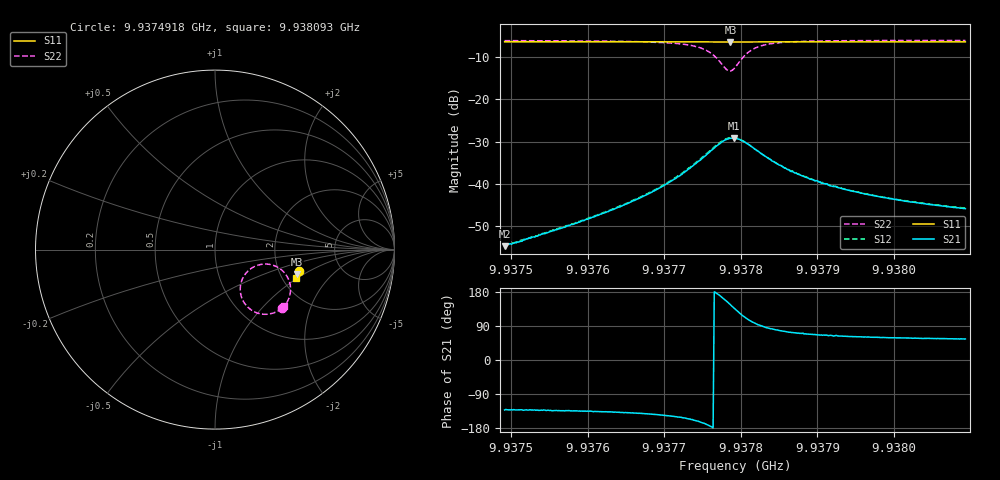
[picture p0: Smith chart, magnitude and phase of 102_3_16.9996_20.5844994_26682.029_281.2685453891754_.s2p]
#  HZ  S  RI  R  50.00
! Rohde & Schwarz Vector Network Analyzer
! Rohde-Schwarz,ZNB20-2Port,1311601062101988,3.16
! Created: UTC 3/20/2024, 10:56:41 PM
! freq[Hz]  re:S11  im:S11  re:S21  im:S21  re:S12  im:S12  re:S22  im:S22
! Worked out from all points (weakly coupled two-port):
!   401 points, 9.9374918 GHz to 9.938093 GHz, reference 50 ohm
!   highest |S21| = -29.15 dB at 9.9377909 GHz (marker M1); lowest = -54.7 dB at 9.9374918 GHz (marker M2)
!   lowest |S11| = -6.4 dB at 9.9377864 GHz (marker M3), VSWR 2.83, Z = 123 - j43.5 ohm
!   |S11| at or under -10 dB: nowhere
!   |S22| runs from -13.3 to -6.0 dB; largest |S21 - S12| = 0.0018
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9.93749181e9  0.4677 -0.1186  -0.00123 -0.00137  -0.00125 -0.00139  0.3746 -0.3251
9.93753239e9  0.4668 -0.1216  -0.00163 -0.00177  -0.00166 -0.00177  0.3688 -0.3299
9.93759252e9  0.4654 -0.1257  -0.00257 -0.0026  -0.00266 -0.00259  0.3574 -0.3377
9.93765114e9  0.4639 -0.1295  -0.00439 -0.00382  -0.00456 -0.00382  0.3382 -0.3485
9.93769322e9  0.4626 -0.1326  -0.00726 -0.00516  -0.00753 -0.00518  0.3113 -0.3574
9.93772178e9  0.4616 -0.1347  -0.0112 -0.00621  -0.0117 -0.00599  0.2758 -0.3606
9.93775034e9  0.4598 -0.1368  -0.0197 -0.00483  -0.0204 -0.00463  0.2073 -0.3399
9.93776236e9  0.4588 -0.1372  -0.0252 -0.00127  -0.0259 -0.00077  0.1672 -0.3025
9.93777289e9  0.458 -0.1371  -0.0296 0.00543  -0.0304 0.00677  0.1418 -0.2391
9.9377804e9  0.4574 -0.1367  -0.0307 0.0129  -0.0308 0.0146  0.1473 -0.1772
9.93778641e9  0.4573 -0.1362  -0.0288 0.0193  -0.0285 0.0211  0.1744 -0.1292
9.93779092e9  0.4575 -0.1362  -0.0257 0.0236  -0.0249 0.0251  0.2061 -0.1018
9.93779242e9  0.4577 -0.1361  -0.0243 0.0246  -0.0236 0.0261  0.2183 -0.0951
9.93779994e9  0.4582 -0.1359  -0.017 0.0283  -0.0159 0.0293  0.281 -0.0805
9.93780746e9  0.4589 -0.1364  -0.0102 0.0285  -0.0092 0.029  0.3345 -0.0912
9.93782399e9  0.4596 -0.1377  -0.00089 0.0239  -4.83e-05 0.0239  0.398 -0.144
9.93784052e9  0.4598 -0.1391  0.00252 0.0186  0.00308 0.0187  0.4173 -0.1896
9.93786307e9  0.4595 -0.1413  0.00422 0.014  0.00441 0.014  0.4206 -0.2295
9.93789313e9  0.459 -0.1436  0.00431 0.0105  0.00456 0.0103  0.4156 -0.2593
9.93793672e9  0.4579 -0.1466  0.00395 0.00762  0.00414 0.00761  0.407 -0.2825
9.93799384e9  0.4564 -0.1506  0.00346 0.00576  0.00361 0.00574  0.3978 -0.2993
9.93809304e9  0.4537 -0.1571  0.00289 0.00421  0.00301 0.00422  0.3862 -0.3154
